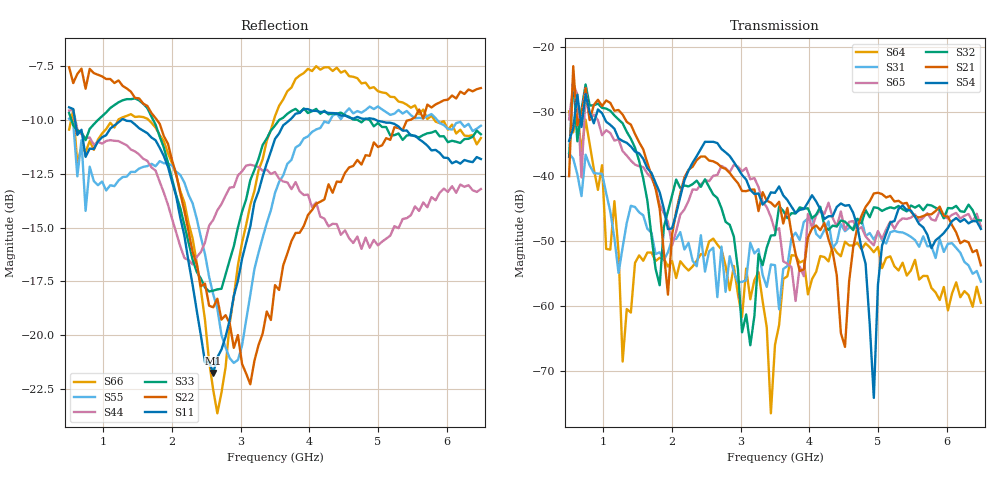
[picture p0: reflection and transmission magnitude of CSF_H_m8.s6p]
!Keysight Technologies,M9804A,MY58100912,A.14.10.03
!Date: Thursday, April 27, 2023 10:28:33
!Correction: S11(C  6-Port  )
!S12(C  6-Port  )
!S13(C  6-Port  )
!S14(C  6-Port  )
!S15(C  6-Port  )
!S16(C  6-Port  )
!S21(C  6-Port  )
!S22(C  6-Port  )
!S23(C  6-Port  )
!S24(C  6-Port  )
!S25(C  6-Port  )
!S26(C  6-Port  )
!S31(C  6-Port  )
!S32(C  6-Port  )
!S33(C  6-Port  )
!S34(C  6-Port  )
!S35(C  6-Port  )
!S36(C  6-Port  )
!S41(C  6-Port  )
!S42(C  6-Port  )
!S43(C  6-Port  )
!S44(C  6-Port  )
!S45(C  6-Port  )
!S46(C  6-Port  )
!S51(C  6-Port  )
!S52(C  6-Port  )
!S53(C  6-Port  )
!S54(C  6-Port  )
!S55(C  6-Port  )
!S56(C  6-Port  )
!S61(C  6-Port  )
!S62(C  6-Port  )
!S63(C  6-Port  )
!S64(C  6-Port  )
!S65(C  6-Port  )
!S66(C  6-Port  )
!S6P File: Measurement: :
# Hz S  RI  R 50
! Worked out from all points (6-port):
!   101 points, 500 MHz to 6.5 GHz, reference 50 ohm
!   strongest paths, dB at 500 MHz, 2 GHz, 3.5 GHz, 5 GHz, 6.5 GHz:
!     S54: -34.5, -48.0, -42.5, -56.7, -48.1
!     S21: -40.0, -49.0, -44.7, -42.5, -53.7
!     S32: -37.0, -43.0, -49.1, -44.9, -46.8
!     S65: -31.2, -50.7, -48.4, -48.4, -47.7
!     S31: -36.5, -49.7, -53.7, -48.6, -56.3
!     S64: -30.0, -53.1, -66.0, -50.9, -59.5
!   lowest |S11| = -21.7 dB at 2.6 GHz (marker M1), VSWR 1.18, Z = 42.7 + j1.99 ohm
!   |S11| at or under -10 dB: 584.9 MHz to 1.263 GHz (678.1 MHz wide, 73.4 % of centre); 1.31 GHz to 3.717 GHz (2.407 GHz wide, 95.8 % of centre); 4.968 GHz to end of sweep
